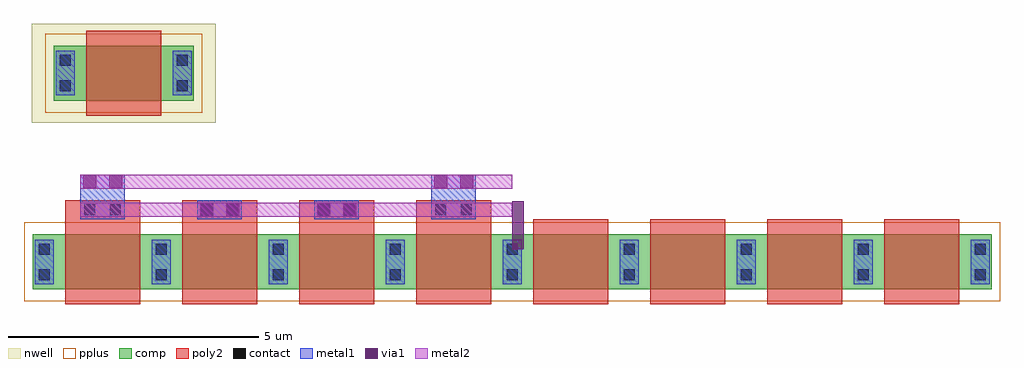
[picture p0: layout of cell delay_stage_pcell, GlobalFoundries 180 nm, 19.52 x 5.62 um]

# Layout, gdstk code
import gdstk
lib = gdstk.Library(unit=1e-6, precision=5e-09)
def R(c, l, rs):  # rectangles x0, y0, x1, y1
    for r in rs: c.add(gdstk.rectangle(r[:2], r[2:], *l))
def A(c, l, x, y, w, h, nx, ny, dx, dy):  # array of equal rectangles
    R(c, l, [(x+i*dx, y+j*dy, x+i*dx+w, y+j*dy+h) for i in range(nx) for j in range(ny)])
nwell = (21, 0)
comp = (22, 0)
poly2 = (30, 0)
pplus = (31, 0)
contact = (33, 0)
metal1 = (34, 0)
via1 = (35, 0)
metal2 = (36, 0)

delay_stage_pcell_1_1 = lib.new_cell('delay_stage_pcell_1$1')
R(delay_stage_pcell_1_1, comp, [(0.17,0.3,0.63,1.4), (0.63,0.3,2.51,1.4), (2.51,0.3,2.97,1.4)])
R(delay_stage_pcell_1_1, poly2, [(0.82,0,2.32,1.7)])
R(delay_stage_pcell_1_1, pplus, [(0,0.06,3.14,1.64)])
R(delay_stage_pcell_1_1, contact, [(0.29,0.485,0.51,0.705), (2.63,0.485,2.85,0.705), (0.29,0.995,0.51,1.215), (2.63,0.995,2.85,1.215)])
R(delay_stage_pcell_1_1, metal1, [(0.21,0.405,0.59,1.295), (2.55,0.405,2.93,1.295)])

delay_stage_pcell_4 = lib.new_cell('delay_stage_pcell_4')
delay_stage_pcell_4.add(gdstk.Reference(delay_stage_pcell_1_1, (0,0)))
delay_stage_pcell_4.add(gdstk.Reference(delay_stage_pcell_1_1, (2.34,0)))
delay_stage_pcell_4.add(gdstk.Reference(delay_stage_pcell_1_1, (4.68,0)))
delay_stage_pcell_4.add(gdstk.Reference(delay_stage_pcell_1_1, (7.02,0)))

delay_stage_pcell = lib.new_cell('delay_stage_pcell')
R(delay_stage_pcell, nwell, [(0.83,4.965,4.51,6.945)])
R(delay_stage_pcell, comp, [(1.27,5.405,1.73,6.505), (1.73,5.405,3.61,6.505), (3.61,5.405,4.07,6.505)])
A(delay_stage_pcell, poly2, 1.5, 3.03, 1.5, 0.38, 4, 1, 2.34, 0)
R(delay_stage_pcell, poly2, [(1.92,5.105,3.42,6.805)])
R(delay_stage_pcell, pplus, [(1.1,5.165,4.24,6.745)])
R(delay_stage_pcell, contact, [(1.885,3.11,2.105,3.33), (2.395,3.11,2.615,3.33), (4.225,3.11,4.445,3.33), (4.735,3.11,4.955,3.33), (6.565,3.11,6.785,3.33), (7.075,3.11,7.295,3.33), (8.905,3.11,9.125,3.33), (9.415,3.11,9.635,3.33), (1.39,5.59,1.61,5.81), (3.73,5.59,3.95,5.81), (1.39,6.1,1.61,6.32), (3.73,6.1,3.95,6.32)])
R(delay_stage_pcell, metal1, [(1.805,3.03,2.695,3.92), (4.145,3.03,5.035,3.41), (6.485,3.03,7.375,3.41), (8.825,3.03,9.715,3.92), (1.31,5.51,1.69,6.4), (3.65,5.51,4.03,6.4)])
R(delay_stage_pcell, via1, [(10.44,2.435,10.67,3.395), (4.2,3.09,4.46,3.35), (4.72,3.09,4.98,3.35), (6.54,3.09,6.8,3.35), (7.06,3.09,7.32,3.35), (1.86,3.65,2.12,3.91), (2.38,3.65,2.64,3.91), (8.88,3.65,9.14,3.91), (9.4,3.65,9.66,3.91)])
delay_stage_pcell.add(gdstk.FlexPath([(1.805,3.22),(10.44,3.22)], 0.28, ends="flush", simple_path=True, layer=36, datatype=0))  # metal2
delay_stage_pcell.add(gdstk.FlexPath([(1.805,3.78),(10.44,3.78)], 0.28, ends="flush", simple_path=True, layer=36, datatype=0))  # metal2
delay_stage_pcell.add(gdstk.Reference(delay_stage_pcell_4, (0.68,1.33)))
delay_stage_pcell.add(gdstk.Reference(delay_stage_pcell_4, (10.04,1.33)))

lib.write_gds('delay_stage_pcell.gds')
